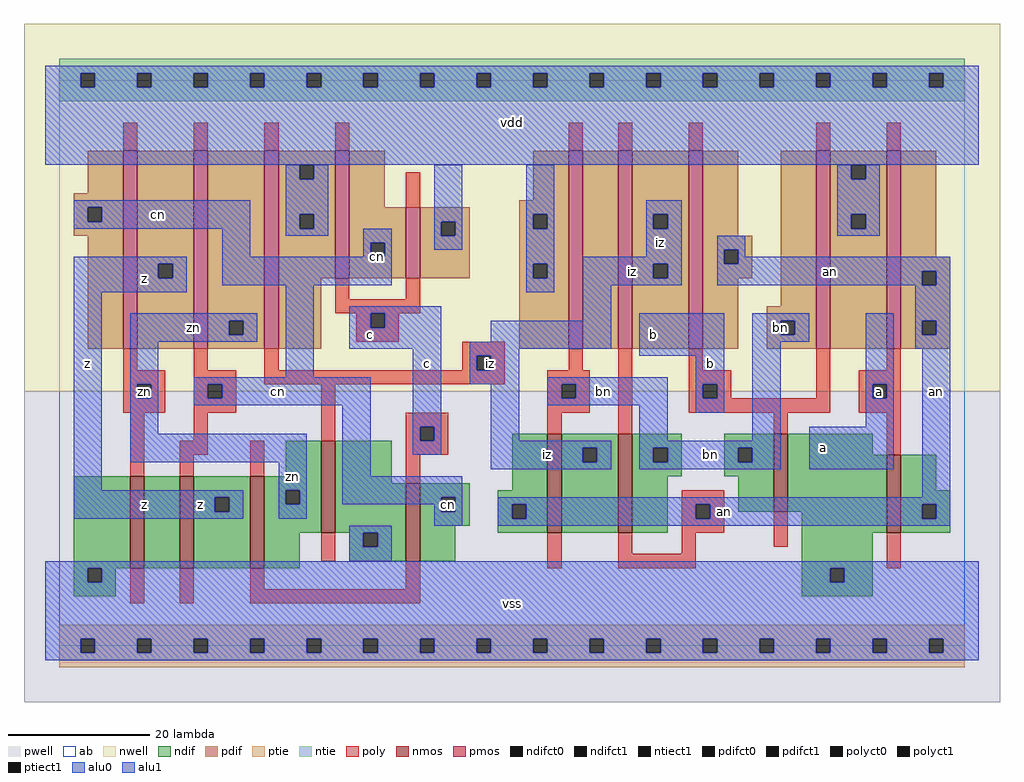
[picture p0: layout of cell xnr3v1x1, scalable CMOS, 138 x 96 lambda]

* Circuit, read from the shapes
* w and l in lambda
.subckt xnr3v1x1 a an b bn c cn iz vdd vss z zn
M1 n1 zn vss vss nfet w=13 l=2
M2 z cn n1 vss nfet w=13 l=2
M3 zn c z vss nfet w=13 l=2
M4 vss iz zn vss nfet w=13 l=2
M5 cn c vss vss nfet w=11 l=2
M6 iz bn an vss nfet w=14 l=2
M7 bn an iz vss nfet w=14 l=2
M8 vss b bn vss nfet w=11 l=2
M9 an a vss vss nfet w=11 l=2
M10 z zn cn vdd pfet w=28 l=2
M11 zn cn z vdd pfet w=28 l=2
M12 vdd iz zn vdd pfet w=28 l=2
M13 cn c vdd vdd pfet w=18 l=2
M14 vdd c cn vdd pfet w=10 l=2
M15 n2 bn vdd vdd pfet w=28 l=2
M16 iz an n2 vdd pfet w=28 l=2
M17 an b iz vdd pfet w=28 l=2
M18 vdd b bn vdd pfet w=28 l=2
M19 an a vdd vdd pfet w=28 l=2
.ends

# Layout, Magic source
magic
tech scmos
<< ab >>
rect 0 0 128 80
<< nwell >>
rect -5 36 133 88
<< pwell >>
rect -5 -8 133 36
<< poly >>
rect 9 70 11 74
rect 19 70 21 74
rect 29 70 31 74
rect 39 70 41 74
rect 72 70 74 74
rect 79 70 81 74
rect 89 70 91 74
rect 107 70 109 74
rect 117 70 119 74
rect 49 62 51 67
rect 39 49 41 52
rect 49 49 51 52
rect 39 47 51 49
rect 42 45 44 47
rect 46 45 48 47
rect 42 43 48 45
rect 9 39 11 42
rect 19 39 21 42
rect 29 39 31 42
rect 57 41 63 43
rect 57 39 59 41
rect 61 39 63 41
rect 72 39 74 42
rect 9 37 15 39
rect 9 35 11 37
rect 13 35 15 37
rect 9 33 15 35
rect 19 37 25 39
rect 29 37 63 39
rect 69 37 75 39
rect 19 35 21 37
rect 23 35 25 37
rect 19 33 25 35
rect 10 24 12 33
rect 19 29 21 33
rect 37 29 39 37
rect 69 35 71 37
rect 73 35 75 37
rect 69 33 75 35
rect 49 31 55 33
rect 49 29 51 31
rect 53 29 55 31
rect 69 30 71 33
rect 79 30 81 42
rect 89 39 91 42
rect 89 37 95 39
rect 89 35 91 37
rect 93 35 95 37
rect 107 35 109 42
rect 117 39 119 42
rect 89 33 109 35
rect 113 37 119 39
rect 113 35 115 37
rect 117 35 119 37
rect 113 33 119 35
rect 101 30 103 33
rect 17 27 21 29
rect 17 24 19 27
rect 27 24 29 29
rect 49 27 55 29
rect 49 23 51 27
rect 37 12 39 16
rect 88 20 94 22
rect 88 18 90 20
rect 92 18 94 20
rect 117 27 119 33
rect 88 16 94 18
rect 10 6 12 11
rect 17 6 19 11
rect 27 8 29 11
rect 49 8 51 12
rect 69 11 71 16
rect 79 13 81 16
rect 88 13 90 16
rect 101 14 103 19
rect 79 11 90 13
rect 117 11 119 16
rect 27 6 51 8
<< ndif >>
rect 32 24 37 29
rect 2 11 10 24
rect 12 11 17 24
rect 19 21 27 24
rect 19 19 22 21
rect 24 19 27 21
rect 19 11 27 19
rect 29 22 37 24
rect 29 20 32 22
rect 34 20 37 22
rect 29 16 37 20
rect 39 23 47 29
rect 39 16 49 23
rect 29 11 34 16
rect 41 14 43 16
rect 45 14 49 16
rect 41 12 49 14
rect 51 21 58 23
rect 64 22 69 30
rect 51 19 54 21
rect 56 19 58 21
rect 51 17 58 19
rect 62 20 69 22
rect 62 18 64 20
rect 66 18 69 20
rect 51 12 56 17
rect 62 16 69 18
rect 71 28 79 30
rect 71 26 74 28
rect 76 26 79 28
rect 71 16 79 26
rect 81 28 88 30
rect 81 26 84 28
rect 86 26 88 28
rect 81 24 88 26
rect 94 28 101 30
rect 94 26 96 28
rect 98 26 101 28
rect 94 24 101 26
rect 81 16 86 24
rect 96 19 101 24
rect 103 27 115 30
rect 103 19 117 27
rect 2 9 4 11
rect 6 9 8 11
rect 2 7 8 9
rect 105 16 117 19
rect 119 22 124 27
rect 119 20 126 22
rect 119 18 122 20
rect 124 18 126 20
rect 119 16 126 18
rect 105 11 115 16
rect 105 9 109 11
rect 111 9 115 11
rect 105 7 115 9
<< pdif >>
rect 4 64 9 70
rect 2 62 9 64
rect 2 60 4 62
rect 6 60 9 62
rect 2 58 9 60
rect 4 42 9 58
rect 11 54 19 70
rect 11 52 14 54
rect 16 52 19 54
rect 11 42 19 52
rect 21 46 29 70
rect 21 44 24 46
rect 26 44 29 46
rect 21 42 29 44
rect 31 68 39 70
rect 31 66 34 68
rect 36 66 39 68
rect 31 61 39 66
rect 31 59 34 61
rect 36 59 39 61
rect 31 52 39 59
rect 41 62 46 70
rect 67 63 72 70
rect 41 57 49 62
rect 41 55 44 57
rect 46 55 49 57
rect 41 52 49 55
rect 51 60 58 62
rect 51 58 54 60
rect 56 58 58 60
rect 51 52 58 58
rect 65 61 72 63
rect 65 59 67 61
rect 69 59 72 61
rect 65 54 72 59
rect 65 52 67 54
rect 69 52 72 54
rect 31 42 37 52
rect 65 42 72 52
rect 74 42 79 70
rect 81 61 89 70
rect 81 59 84 61
rect 86 59 89 61
rect 81 54 89 59
rect 81 52 84 54
rect 86 52 89 54
rect 81 42 89 52
rect 91 58 96 70
rect 91 56 98 58
rect 91 54 94 56
rect 96 54 98 56
rect 91 52 98 54
rect 91 42 96 52
rect 102 48 107 70
rect 100 46 107 48
rect 100 44 102 46
rect 104 44 107 46
rect 100 42 107 44
rect 109 68 117 70
rect 109 66 112 68
rect 114 66 117 68
rect 109 61 117 66
rect 109 59 112 61
rect 114 59 117 61
rect 109 42 117 59
rect 119 55 124 70
rect 119 53 126 55
rect 119 51 122 53
rect 124 51 126 53
rect 119 46 126 51
rect 119 44 122 46
rect 124 44 126 46
rect 119 42 126 44
<< alu1 >>
rect -2 81 130 82
rect -2 79 3 81
rect 5 79 11 81
rect 13 79 19 81
rect 21 79 27 81
rect 29 79 35 81
rect 37 79 43 81
rect 45 79 51 81
rect 53 79 59 81
rect 61 79 67 81
rect 69 79 75 81
rect 77 79 83 81
rect 85 79 91 81
rect 93 79 99 81
rect 101 79 107 81
rect 109 79 115 81
rect 117 79 123 81
rect 125 79 130 81
rect -2 68 130 79
rect 2 54 18 55
rect 2 52 14 54
rect 16 52 18 54
rect 2 50 18 52
rect 2 22 6 50
rect 41 47 54 48
rect 41 45 44 47
rect 46 45 54 47
rect 41 42 54 45
rect 2 21 26 22
rect 2 19 22 21
rect 24 19 26 21
rect 2 18 26 19
rect 50 31 54 42
rect 82 41 94 47
rect 50 29 51 31
rect 53 29 54 31
rect 50 27 54 29
rect 90 37 94 41
rect 90 35 91 37
rect 93 35 94 37
rect 90 33 94 35
rect 114 37 118 47
rect 114 35 115 37
rect 117 35 118 37
rect 114 31 118 35
rect 106 25 118 31
rect -2 11 130 12
rect -2 9 4 11
rect 6 9 109 11
rect 111 9 130 11
rect -2 1 130 9
rect -2 -1 3 1
rect 5 -1 11 1
rect 13 -1 19 1
rect 21 -1 27 1
rect 29 -1 35 1
rect 37 -1 43 1
rect 45 -1 51 1
rect 53 -1 59 1
rect 61 -1 67 1
rect 69 -1 75 1
rect 77 -1 83 1
rect 85 -1 91 1
rect 93 -1 99 1
rect 101 -1 107 1
rect 109 -1 115 1
rect 117 -1 123 1
rect 125 -1 130 1
rect -2 -2 130 -1
<< ptie >>
rect 0 1 128 3
rect 0 -1 3 1
rect 5 -1 11 1
rect 13 -1 19 1
rect 21 -1 27 1
rect 29 -1 35 1
rect 37 -1 43 1
rect 45 -1 51 1
rect 53 -1 59 1
rect 61 -1 67 1
rect 69 -1 75 1
rect 77 -1 83 1
rect 85 -1 91 1
rect 93 -1 99 1
rect 101 -1 107 1
rect 109 -1 115 1
rect 117 -1 123 1
rect 125 -1 128 1
rect 0 -3 128 -1
<< ntie >>
rect 0 81 128 83
rect 0 79 3 81
rect 5 79 11 81
rect 13 79 19 81
rect 21 79 27 81
rect 29 79 35 81
rect 37 79 43 81
rect 45 79 51 81
rect 53 79 59 81
rect 61 79 67 81
rect 69 79 75 81
rect 77 79 83 81
rect 85 79 91 81
rect 93 79 99 81
rect 101 79 107 81
rect 109 79 115 81
rect 117 79 123 81
rect 125 79 128 81
rect 0 77 128 79
<< nmos >>
rect 10 11 12 24
rect 17 11 19 24
rect 27 11 29 24
rect 37 16 39 29
rect 49 12 51 23
rect 69 16 71 30
rect 79 16 81 30
rect 101 19 103 30
rect 117 16 119 27
<< pmos >>
rect 9 42 11 70
rect 19 42 21 70
rect 29 42 31 70
rect 39 52 41 70
rect 49 52 51 62
rect 72 42 74 70
rect 79 42 81 70
rect 89 42 91 70
rect 107 42 109 70
rect 117 42 119 70
<< polyct0 >>
rect 59 39 61 41
rect 11 35 13 37
rect 21 35 23 37
rect 71 35 73 37
rect 90 18 92 20
<< polyct1 >>
rect 44 45 46 47
rect 51 29 53 31
rect 91 35 93 37
rect 115 35 117 37
<< ndifct0 >>
rect 32 20 34 22
rect 43 14 45 16
rect 54 19 56 21
rect 64 18 66 20
rect 74 26 76 28
rect 84 26 86 28
rect 96 26 98 28
rect 122 18 124 20
<< ndifct1 >>
rect 22 19 24 21
rect 4 9 6 11
rect 109 9 111 11
<< ntiect1 >>
rect 3 79 5 81
rect 11 79 13 81
rect 19 79 21 81
rect 27 79 29 81
rect 35 79 37 81
rect 43 79 45 81
rect 51 79 53 81
rect 59 79 61 81
rect 67 79 69 81
rect 75 79 77 81
rect 83 79 85 81
rect 91 79 93 81
rect 99 79 101 81
rect 107 79 109 81
rect 115 79 117 81
rect 123 79 125 81
<< ptiect1 >>
rect 3 -1 5 1
rect 11 -1 13 1
rect 19 -1 21 1
rect 27 -1 29 1
rect 35 -1 37 1
rect 43 -1 45 1
rect 51 -1 53 1
rect 59 -1 61 1
rect 67 -1 69 1
rect 75 -1 77 1
rect 83 -1 85 1
rect 91 -1 93 1
rect 99 -1 101 1
rect 107 -1 109 1
rect 115 -1 117 1
rect 123 -1 125 1
<< pdifct0 >>
rect 4 60 6 62
rect 24 44 26 46
rect 34 66 36 68
rect 34 59 36 61
rect 44 55 46 57
rect 54 58 56 60
rect 67 59 69 61
rect 67 52 69 54
rect 84 59 86 61
rect 84 52 86 54
rect 94 54 96 56
rect 102 44 104 46
rect 112 66 114 68
rect 112 59 114 61
rect 122 51 124 53
rect 122 44 124 46
<< pdifct1 >>
rect 14 52 16 54
<< alu0 >>
rect 32 66 34 68
rect 36 66 38 68
rect 2 62 27 63
rect 2 60 4 62
rect 6 60 27 62
rect 2 59 27 60
rect 23 55 27 59
rect 32 61 38 66
rect 32 59 34 61
rect 36 59 38 61
rect 53 60 57 68
rect 32 58 38 59
rect 43 57 47 59
rect 43 55 44 57
rect 46 55 47 57
rect 53 58 54 60
rect 56 58 57 60
rect 53 56 57 58
rect 66 61 70 68
rect 110 66 112 68
rect 114 66 116 68
rect 66 59 67 61
rect 69 59 70 61
rect 23 51 47 55
rect 66 54 70 59
rect 83 61 88 63
rect 83 59 84 61
rect 86 59 88 61
rect 83 55 88 59
rect 110 61 116 66
rect 110 59 112 61
rect 114 59 116 61
rect 110 58 116 59
rect 66 52 67 54
rect 69 52 70 54
rect 10 46 28 47
rect 10 44 24 46
rect 26 44 28 46
rect 10 43 28 44
rect 10 37 14 43
rect 32 38 36 51
rect 66 50 70 52
rect 74 54 88 55
rect 74 52 84 54
rect 86 52 88 54
rect 74 51 88 52
rect 93 56 97 58
rect 93 54 94 56
rect 96 55 97 56
rect 96 54 126 55
rect 93 53 126 54
rect 93 51 122 53
rect 124 51 126 53
rect 74 46 78 51
rect 61 43 78 46
rect 10 35 11 37
rect 13 35 14 37
rect 10 30 14 35
rect 19 37 44 38
rect 19 35 21 37
rect 23 35 44 37
rect 19 34 44 35
rect 10 26 35 30
rect 31 22 35 26
rect 31 20 32 22
rect 34 20 35 22
rect 40 24 44 34
rect 58 42 78 43
rect 58 41 65 42
rect 58 39 59 41
rect 61 39 65 41
rect 58 37 65 39
rect 61 29 65 37
rect 69 37 86 38
rect 69 35 71 37
rect 73 35 86 37
rect 69 34 86 35
rect 82 29 86 34
rect 98 46 106 47
rect 98 44 102 46
rect 104 44 106 46
rect 98 43 106 44
rect 98 29 102 43
rect 121 46 126 51
rect 121 44 122 46
rect 124 44 126 46
rect 121 42 126 44
rect 61 28 78 29
rect 61 26 74 28
rect 76 26 78 28
rect 61 25 78 26
rect 82 28 102 29
rect 82 26 84 28
rect 86 26 96 28
rect 98 26 102 28
rect 82 25 102 26
rect 40 21 57 24
rect 122 21 126 42
rect 40 20 54 21
rect 31 18 35 20
rect 53 19 54 20
rect 56 19 57 21
rect 53 17 57 19
rect 62 20 126 21
rect 62 18 64 20
rect 66 18 90 20
rect 92 18 122 20
rect 124 18 126 20
rect 62 17 126 18
rect 41 16 47 17
rect 41 14 43 16
rect 45 14 47 16
rect 41 12 47 14
<< labels >>
rlabel polyct0 12 36 12 36 6 zn
rlabel alu0 33 24 33 24 6 zn
rlabel alu0 31 36 31 36 6 cn
rlabel alu0 19 45 19 45 6 zn
rlabel alu0 14 61 14 61 6 cn
rlabel alu0 45 55 45 55 6 cn
rlabel ndifct0 55 20 55 20 6 cn
rlabel alu0 61 40 61 40 6 iz
rlabel alu0 69 27 69 27 6 iz
rlabel alu0 77 36 77 36 6 bn
rlabel alu0 81 53 81 53 6 iz
rlabel alu0 85 57 85 57 6 iz
rlabel alu0 92 27 92 27 6 bn
rlabel alu0 94 19 94 19 6 an
rlabel alu0 102 45 102 45 6 bn
rlabel alu0 124 36 124 36 6 an
rlabel alu0 109 53 109 53 6 an
rlabel alu1 20 20 20 20 6 z
rlabel alu1 12 20 12 20 6 z
rlabel alu1 4 40 4 40 6 z
rlabel alu1 12 52 12 52 6 z
rlabel alu1 52 40 52 40 6 c
rlabel alu1 44 44 44 44 6 c
rlabel alu1 64 6 64 6 6 vss
rlabel alu1 92 40 92 40 6 b
rlabel alu1 84 44 84 44 6 b
rlabel alu1 64 74 64 74 6 vdd
rlabel polyct1 116 36 116 36 6 a
rlabel alu1 108 28 108 28 6 a
<< end >>
